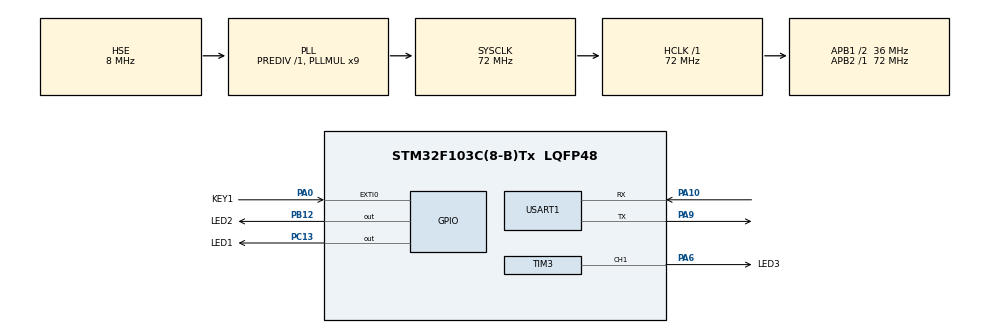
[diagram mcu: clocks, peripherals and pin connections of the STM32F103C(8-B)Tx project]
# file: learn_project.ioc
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Dma.Request0=USART1_RX
Dma.Request1=USART1_TX
Dma.USART1_RX.0.Direction=DMA_PERIPH_TO_MEMORY
Dma.USART1_RX.0.Instance=DMA1_Channel5
Dma.USART1_RX.0.MemDataAlignment=DMA_MDATAALIGN_BYTE
Dma.USART1_RX.0.MemInc=DMA_MINC_ENABLE
Dma.USART1_RX.0.Mode=DMA_NORMAL
Dma.USART1_RX.0.PeriphDataAlignment=DMA_PDATAALIGN_BYTE
Dma.USART1_RX.0.PeriphInc=DMA_PINC_DISABLE
Dma.USART1_RX.0.Priority=DMA_PRIORITY_MEDIUM
Dma.USART1_TX.1.Direction=DMA_MEMORY_TO_PERIPH
Dma.USART1_TX.1.Instance=DMA1_Channel4
Dma.USART1_TX.1.MemDataAlignment=DMA_MDATAALIGN_BYTE
Dma.USART1_TX.1.MemInc=DMA_MINC_ENABLE
Dma.USART1_TX.1.Mode=DMA_NORMAL
Dma.USART1_TX.1.PeriphDataAlignment=DMA_PDATAALIGN_BYTE
Dma.USART1_TX.1.PeriphInc=DMA_PINC_DISABLE
Dma.USART1_TX.1.Priority=DMA_PRIORITY_MEDIUM
FREERTOS.Tasks01=defaultTask,24,128,StartDefaultTask,Default,NULL,Dynamic,NULL,NULL
FREERTOS.configTOTAL_HEAP_SIZE=8192
Mcu.Family=STM32F1
Mcu.Name=STM32F103C(8-B)Tx
Mcu.Package=LQFP48
NVIC.DMA1_Channel4_IRQn=true\:5\:0\:false\:false\:true\:true\:false\:true\:true
NVIC.DMA1_Channel5_IRQn=true\:5\:0\:false\:false\:true\:true\:false\:true\:true
NVIC.EXTI0_IRQn=true\:5\:0\:false\:false\:true\:true\:true\:true\:true
NVIC.PriorityGroup=NVIC_PRIORITYGROUP_4
NVIC.TIM2_IRQn=true\:15\:0\:false\:false\:true\:false\:false\:true\:true
NVIC.TIM3_IRQn=true\:5\:0\:false\:false\:true\:true\:true\:true\:true
NVIC.TimeBase=TIM2_IRQn
NVIC.TimeBaseIP=TIM2
NVIC.USART1_IRQn=true\:5\:0\:false\:false\:true\:true\:true\:true\:true
PA0-WKUP.GPIO_Label=KEY1
PA0-WKUP.GPIO_ModeDefaultEXTI=GPIO_MODE_IT_FALLING
PA0-WKUP.GPIO_PuPd=GPIO_PULLUP
PA0-WKUP.Signal=GPXTI0
PA10.Mode=Asynchronous
PA10.Signal=USART1_RX
PA13.Mode=Serial_Wire
PA13.Signal=SYS_JTMS-SWDIO
PA14.Mode=Serial_Wire
PA14.Signal=SYS_JTCK-SWCLK
PA6.GPIO_Label=LED3
PA6.Signal=S_TIM3_CH1
PA9.Mode=Asynchronous
PA9.Signal=USART1_TX
PB12.GPIO_Label=LED2
PB12.PinState=GPIO_PIN_SET
PB12.Signal=GPIO_Output
PC13-TAMPER-RTC.GPIO_Label=LED1
PC13-TAMPER-RTC.PinState=GPIO_PIN_SET
PC13-TAMPER-RTC.Signal=GPIO_Output
PC14-OSC32_IN.Mode=LSE-External-Oscillator
PC14-OSC32_IN.Signal=RCC_OSC32_IN
PC15-OSC32_OUT.Mode=LSE-External-Oscillator
PC15-OSC32_OUT.Signal=RCC_OSC32_OUT
PD0-OSC_IN.Mode=HSE-External-Oscillator
PD0-OSC_IN.Signal=RCC_OSC_IN
PD1-OSC_OUT.Mode=HSE-External-Oscillator
PD1-OSC_OUT.Signal=RCC_OSC_OUT
ProjectManager.HeapSize=0x200
ProjectManager.StackSize=0x400
ProjectManager.TargetToolchain=MDK-ARM V5.32
RCC.AHBFreq_Value=72000000
RCC.APB1CLKDivider=RCC_HCLK_DIV2
RCC.APB1Freq_Value=36000000
RCC.APB1TimFreq_Value=72000000
RCC.APB2Freq_Value=72000000
RCC.APB2TimFreq_Value=72000000
RCC.HCLKFreq_Value=72000000
RCC.PLLMUL=RCC_PLL_MUL9
RCC.PLLSourceVirtual=RCC_PLLSOURCE_HSE
RCC.SYSCLKFreq_VALUE=72000000
RCC.SYSCLKSource=RCC_SYSCLKSOURCE_PLLCLK
RCC.USBFreq_Value=72000000
SH.S_TIM3_CH1.0=TIM3_CH1,PWM Generation1 CH1
TIM3.Channel-PWM\ Generation1\ CH1=TIM_CHANNEL_1
TIM3.Period=100-1
TIM3.Prescaler=7200-1
USART1.VirtualMode=VM_ASYNC
VP_FREERTOS_VS_CMSIS_V2.Mode=CMSIS_V2
VP_SYS_VS_tim2.Mode=TIM2
VP_TIM3_VS_ClockSourceINT.Mode=Internal
board=custom

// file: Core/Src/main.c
/* USER CODE BEGIN Header */
/**
  ******************************************************************************
  * @file           : main.c
  * @brief          : Main program body
  ******************************************************************************
  * @attention
  *
  * Copyright (c) 2025 STMicroelectronics.
  * All rights reserved.
  *
  * This software is licensed under terms that can be found in the LICENSE file
  * in the root directory of this software component.
  * If no LICENSE file comes with this software, it is provided AS-IS.
  *
  ******************************************************************************
  */
/* USER CODE END Header */
#include "main.h"
#include "cmsis_os.h"
#include "dma.h"
#include "tim.h"
#include "usart.h"
#include "gpio.h"

void SystemClock_Config(void);
void MX_FREERTOS_Init(void);

int main(void)
{

  /* MCU Configuration--------------------------------------------------------*/

  /* Reset of all peripherals, Initializes the Flash interface and the Systick. */
  HAL_Init();

  /* Configure the system clock */
  SystemClock_Config();

  /* Initialize all configured peripherals */
  MX_GPIO_Init();
  MX_DMA_Init();
  MX_USART1_UART_Init();
  MX_TIM3_Init();

  /* Init scheduler */
  osKernelInitialize();

  /* Call init function for freertos objects (in cmsis_os2.c) */
  MX_FREERTOS_Init();

  /* Start scheduler */
  osKernelStart();

  /* We should never get here as control is now taken by the scheduler */

  /* Infinite loop */
  while (1)
  {

  }
}

void SystemClock_Config(void)
{
  RCC_OscInitTypeDef RCC_OscInitStruct = {0};
  RCC_ClkInitTypeDef RCC_ClkInitStruct = {0};

  /** Initializes the RCC Oscillators according to the specified parameters
  * in the RCC_OscInitTypeDef structure.
  */
  RCC_OscInitStruct.OscillatorType = RCC_OSCILLATORTYPE_HSE;
  RCC_OscInitStruct.HSEState = RCC_HSE_ON;
  RCC_OscInitStruct.HSEPredivValue = RCC_HSE_PREDIV_DIV1;
  RCC_OscInitStruct.HSIState = RCC_HSI_ON;
  RCC_OscInitStruct.PLL.PLLState = RCC_PLL_ON;
  RCC_OscInitStruct.PLL.PLLSource = RCC_PLLSOURCE_HSE;
  RCC_OscInitStruct.PLL.PLLMUL = RCC_PLL_MUL9;
  if (HAL_RCC_OscConfig(&RCC_OscInitStruct) != HAL_OK)
  {
    Error_Handler();
  }

  /** Initializes the CPU, AHB and APB buses clocks
  */
  RCC_ClkInitStruct.ClockType = RCC_CLOCKTYPE_HCLK|RCC_CLOCKTYPE_SYSCLK
                              |RCC_CLOCKTYPE_PCLK1|RCC_CLOCKTYPE_PCLK2;
  RCC_ClkInitStruct.SYSCLKSource = RCC_SYSCLKSOURCE_PLLCLK;
  RCC_ClkInitStruct.AHBCLKDivider = RCC_SYSCLK_DIV1;
  RCC_ClkInitStruct.APB1CLKDivider = RCC_HCLK_DIV2;
  RCC_ClkInitStruct.APB2CLKDivider = RCC_HCLK_DIV1;

  if (HAL_RCC_ClockConfig(&RCC_ClkInitStruct, FLASH_LATENCY_2) != HAL_OK)
  {
    Error_Handler();
  }
}

// void HAL_TIM_PeriodElapsedCallback(TIM_HandleTypeDef *htim)
// {
//   /* USER CODE BEGIN Callback 0 */

//   /* USER CODE END Callback 0 */
//   if (htim->Instance == TIM2) {
//     HAL_IncTick();
//   }
//   /* USER CODE BEGIN Callback 1 */

//   /* USER CODE END Callback 1 */
// }

void Error_Handler(void)
{
  __disable_irq();
  while (1)
  {
  }
}

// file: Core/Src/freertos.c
/* USER CODE BEGIN Header */
/**
 ******************************************************************************
 * File Name          : freertos.c
 * Description        : Code for freertos applications
 ******************************************************************************
 * @attention
 *
 * Copyright (c) 2025 STMicroelectronics.
 * All rights reserved.
 *
 * This software is licensed under terms that can be found in the LICENSE file
 * in the root directory of this software component.
 * If no LICENSE file comes with this software, it is provided AS-IS.
 *
 ******************************************************************************
 */
/* USER CODE END Header */

#include "FreeRTOS.h"
#include "task.h"
#include "main.h"
#include "cmsis_os.h"

/* USER CODE BEGIN Includes */
#include <stdio.h>
#include "usart.h"
#include "string.h"
#include "event_groups.h"
/* USER CODE END Includes */

/* USER CODE BEGIN Variables */
osThreadId_t LED1TaskHandle;
osThreadId_t LED2TaskHandle;
osThreadId_t KEY_TaskHandle;

const osThreadAttr_t LED1Task_attributes = {
    .name = "LED1Task",
    .stack_size = 256,
    .priority = (osPriority_t)osPriorityNormal,
};

const osThreadAttr_t LED2Task_attributes = {
    .name = "LED2Task",
    .stack_size = 256,
    .priority = (osPriority_t)osPriorityNormal,
};

const osThreadAttr_t KEY_Task_attributes = {
    .name = "KEYTask",
    .stack_size = 128,
    .priority = (osPriority_t)osPriorityNormal,
};

/* USER CODE END Variables */
/* Definitions for defaultTask */
osThreadId_t defaultTaskHandle;
const osThreadAttr_t defaultTask_attributes = {
    .name = "defaultTask",
    .stack_size = 128 * 4,
    .priority = (osPriority_t)osPriorityNormal,
};

/* USER CODE BEGIN FunctionPrototypes */
extern void LED1_Task(void *argument);
extern void LED2_Task(void *argument);
extern void KEY_Task(void *argument);
/* USER CODE END FunctionPrototypes */

void StartDefaultTask(void *argument);

void MX_FREERTOS_Init(void); /* (MISRA C 2004 rule 8.1) */

void MX_FREERTOS_Init(void)
{
  /* USER CODE BEGIN Init */
  // 初始化串口互斥量
  UART_Init();
  /* USER CODE END Init */

  /* Create the thread(s) */
  /* creation of defaultTask */
  defaultTaskHandle = osThreadNew(StartDefaultTask, NULL, &defaultTask_attributes);

  /* USER CODE BEGIN RTOS_THREADS */
  LED1TaskHandle = osThreadNew(LED1_Task, NULL, &LED1Task_attributes);
  LED2TaskHandle = osThreadNew(LED2_Task, NULL, &LED2Task_attributes);
  KEY_TaskHandle = osThreadNew(KEY_Task, NULL, &KEY_Task_attributes);
  /* USER CODE END RTOS_THREADS */

}

void StartDefaultTask(void *argument)
{
  for (;;)
  {
    osDelay(1);
  }
}

/* USER CODE BEGIN Application */
void LED1_Task(void *argument)
{
  for (;;)
  {
  }
}
void LED2_Task(void *argument)
{
  for (;;)
  {
  }
}
void KEY_Task(void *argument)
{
  for (;;)
  {
  }
}
/* USER CODE END Application */
